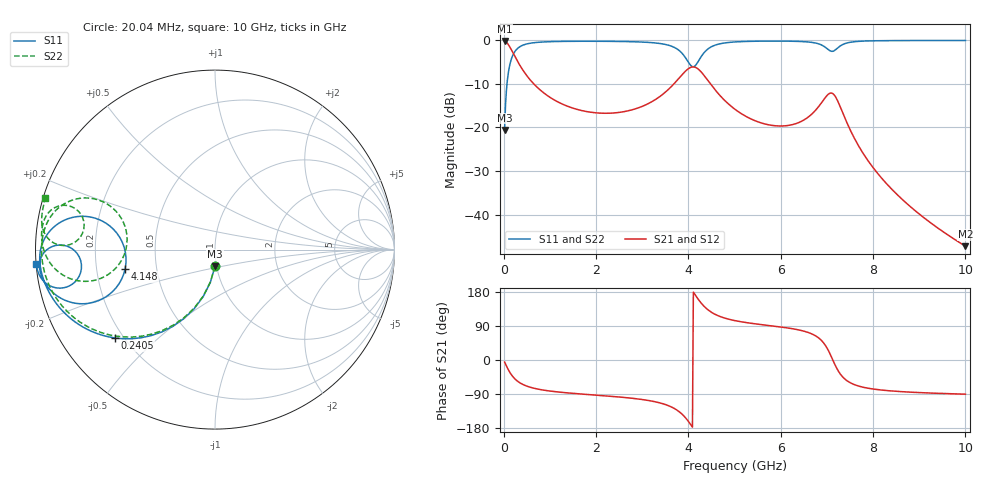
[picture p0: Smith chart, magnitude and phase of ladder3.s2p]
# HZ S  RI R 5.000000e+01
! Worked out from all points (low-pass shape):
!   499 points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, 20.04 MHz to 10 GHz, reference 50 ohm
!   highest |S21| = -0.12 dB at 20.04 MHz (marker M1); lowest = -47.3 dB at 10 GHz (marker M2)
!   |S21| within 3 dB of the highest: start of sweep to 214.8 MHz
!   lowest |S11| = -20.6 dB at 20.04 MHz (marker M3), VSWR 1.21, Z = 49.1 - j9.28 ohm
!   |S11| at or under -10 dB: start of sweep to 72.26 MHz
!   |S22| runs from -20.7 to -0.1 dB; largest |S21 - S12| = 1.9e-15
!   S11 on the Smith chart (normalised r, x): 20.04 MHz: 0.98, -0.19; 240.5 MHz: 0.17, -0.37; 4.148 GHz: 0.33, -0.10; 10 GHz: 0.00, -0.04
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2.004008e7  3.07e-05 -0.0936  0.9822 -0.0942  0.9822 -0.0942  6.68e-05 -0.0925
1.202405e8  -0.2353 -0.4281  0.7473 -0.4316  0.7473 -0.4316  -0.2343 -0.4219
2.40481e8  -0.5556 -0.4927  0.4275 -0.5005  0.4275 -0.5005  -0.5533 -0.4818
4.008016e8  -0.7749 -0.4063  0.2084 -0.4203  0.2084 -0.4203  -0.7715 -0.3897
6.212425e8  -0.8893 -0.2935  0.0937 -0.3162  0.0937 -0.3162  -0.8851 -0.2693
1.102204e9  -0.9571 -0.1618  0.0238 -0.2048  0.0238 -0.2048  -0.9514 -0.1202
1.683367e9  -0.9746 -0.0836  0.00054 -0.1568  0.00054 -0.1568  -0.9662 -0.0211
2.58517e9  -0.9716 0.000509  -0.0225 -0.1497  -0.0225 -0.1497  -0.9552 0.0944
3.346693e9  -0.922 0.1012  -0.0826 -0.2038  -0.0826 -0.2038  -0.891 0.2143
3.867735e9  -0.6846 0.1796  -0.3257 -0.2416  -0.3257 -0.2416  -0.6432 0.2742
4.148297e9  -0.5008 -0.1083  -0.4863 0.0704  -0.4863 0.0704  -0.5055 -0.0284
4.388778e9  -0.7085 -0.2998  -0.2639 0.2539  -0.2639 0.2539  -0.7394 -0.1764
4.629259e9  -0.8579 -0.2714  -0.1166 0.2228  -0.1166 0.2228  -0.8814 -0.1164
5.01002e9  -0.9402 -0.1972  -0.0387 0.157  -0.0387 0.157  -0.949 -0.0164
5.911824e9  -0.9776 -0.0989  0.0027 0.1043  0.0027 0.1043  -0.9636 0.1186
6.673347e9  -0.9494 -0.0129  0.0514 0.1329  0.0514 0.1329  -0.9117 0.2214
6.953908e9  -0.8427 0.0238  0.1632 0.1422  0.1632 0.1422  -0.7981 0.2386
7.134269e9  -0.7444 -0.1067  0.2436 -0.00705  0.2436 -0.00705  -0.7372 0.0938
7.274549e9  -0.8266 -0.2085  0.1491 -0.1016  0.1491 -0.1016  -0.8421 0.0229
7.49499e9  -0.9297 -0.1963  0.0492 -0.0828  0.0492 -0.0828  -0.9363 0.0697
8.336673e9  -0.9871 -0.121  0.00332 -0.0211  0.00332 -0.0211  -0.9648 0.1872
1e10  -0.9958 -0.0808  -1.24e-05 -0.00433  -1.24e-05 -0.00433  -0.9451 0.286
